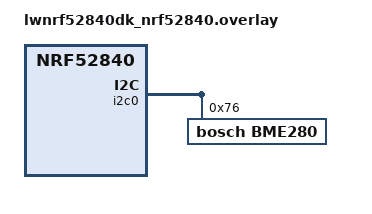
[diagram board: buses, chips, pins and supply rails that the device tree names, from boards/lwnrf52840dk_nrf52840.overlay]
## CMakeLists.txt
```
cmake_minimum_required(VERSION 3.20.0)
find_package(Zephyr REQUIRED HINTS $ENV{ZEPHYR_BASE})
project(bme280_app)
target_sources(app PRIVATE src/main.c)
```

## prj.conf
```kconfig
CONFIG_I2C=y
CONFIG_SENSOR=y
CONFIG_BME280=y
CONFIG_CBPRINTF_FP_SUPPORT=y
```

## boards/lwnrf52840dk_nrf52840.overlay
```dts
/* application/boards/lwnrf52840dk_nrf52840.overlay */
&i2c0 {
    status = "okay";
    bme280@76 {
        compatible = "bosch,bme280";
        reg = <0x76>;
    };
};
```

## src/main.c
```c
#include <zephyr/kernel.h>
#include <zephyr/device.h>
#include <zephyr/drivers/sensor.h>

int main(void)
{
    const struct device *dev = DEVICE_DT_GET_ANY(bosch_bme280);

    if (!dev || !device_is_ready(dev)) {
        printk("BME280 not ready\n");
        return 0;
    }
    if (sensor_sample_fetch(dev) != 0) {
        printk("BME280 fetch failed\n");
        return 0;
    }
    struct sensor_value temp;
    sensor_channel_get(dev, SENSOR_CHAN_AMBIENT_TEMP, &temp);
    printk("BME280 temp: %d.%06d C\n", temp.val1, temp.val2);
    return 0;
}
```
